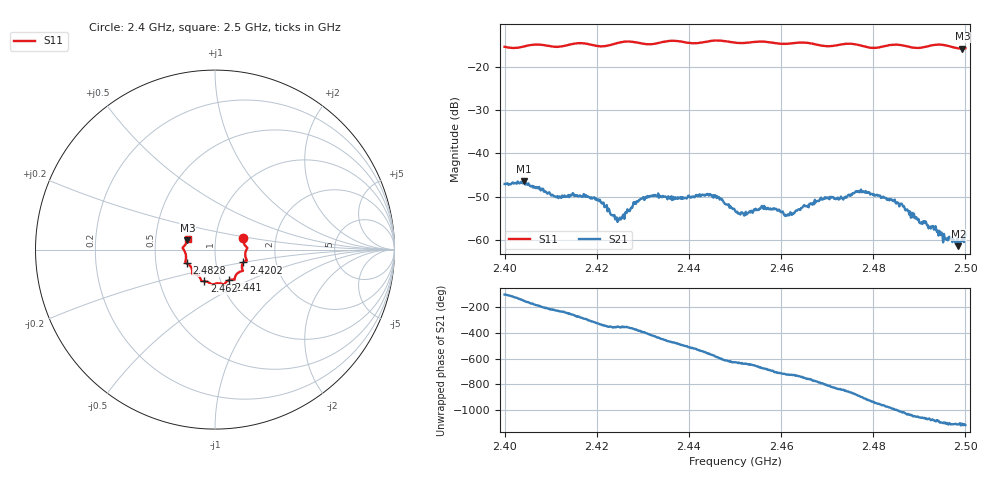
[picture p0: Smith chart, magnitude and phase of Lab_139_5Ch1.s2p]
# Hz S RI R 50
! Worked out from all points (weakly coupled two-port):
!   601 points, 2.4 GHz to 2.5 GHz, reference 50 ohm
!   highest |S21| = -46.49 dB at 2.4042 GHz (marker M1); lowest = -61.5 dB at 2.4985 GHz (marker M2)
!   lowest |S11| = -15.8 dB at 2.4993 GHz (marker M3), VSWR 1.39, Z = 36.5 + j3.84 ohm
!   |S11| at or under -10 dB: start of sweep to end of sweep
!   S12 and S22 are empty: the file has one direction only
!   S11 on the Smith chart (normalised r, x): 2.4 GHz: 1.36, +0.18; 2.4202 GHz: 1.36, -0.20; 2.441 GHz: 1.10, -0.39; 2.462 GHz: 0.84, -0.30; 2.4828 GHz: 0.72, -0.11; 2.5 GHz: 0.73, +0.09
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2.4e9  0.1583 0.0627  -0.00119 -0.00425  0 0  0 0
2.404167e9  0.1707 0.0187  -0.00428 -0.00203  0 0  0 0
2.411167e9  0.1689 -0.0186  -0.00204 0.00234  0 0  0 0
2.416667e9  0.1775 -0.0606  0.000809 0.00305  0 0  0 0
2.420167e9  0.1584 -0.0714  0.00244 0.00157  0 0  0 0
2.424667e9  0.1532 -0.1113  0.00166 0.000153  0 0  0 0
2.429667e9  0.1398 -0.123  0.00251 -0.0016  0 0  0 0
2.433333e9  0.1122 -0.1508  0.000785 -0.00334  0 0  0 0
2.441e9  0.0784 -0.1697  -0.00301 -0.00097  0 0  0 0
2.446e9  0.0503 -0.1948  -0.00199 0.0023  0 0  0 0
2.45e9  0.0286 -0.1879  -6.7e-05 0.00217  0 0  0 0
2.452333e9  0.00498 -0.189  0.00034 0.00208  0 0  0 0
2.456167e9  -0.0166 -0.1946  0.00163 0.00159  0 0  0 0
2.462e9  -0.0601 -0.1759  0.00207 -0.000232  0 0  0 0
2.466667e9  -0.0787 -0.1681  0.00175 -0.00188  0 0  0 0
2.476833e9  -0.1271 -0.1256  -0.00358 -0.000734  0 0  0 0
2.482833e9  -0.1573 -0.0768  -0.000992 0.00287  0 0  0 0
2.483333e9  -0.1604 -0.0754  -0.000677 0.00286  0 0  0 0
2.495667e9  -0.1766 0.0152  0.000991 -0.000269  0 0  0 0
2.4985e9  -0.1582 0.0402  0.000751 -0.000385  0 0  0 0
2.499333e9  -0.154 0.0512  0.000937 -0.000406  0 0  0 0
2.5e9  -0.1522 0.0608  0.000954 -0.000645  0 0  0 0
